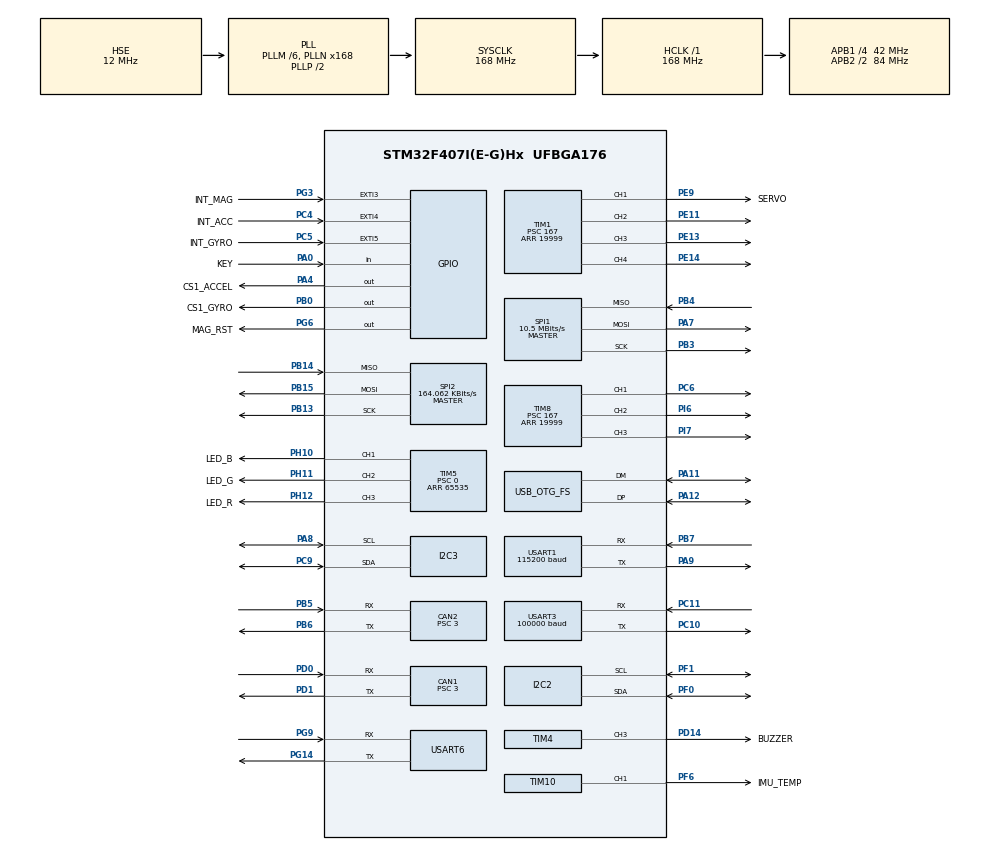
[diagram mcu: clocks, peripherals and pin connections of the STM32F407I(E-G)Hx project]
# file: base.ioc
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ADC1.Channel-0\#ChannelRegularConversion=ADC_CHANNEL_TEMPSENSOR
ADC1.ClockPrescaler=ADC_CLOCK_SYNC_PCLK_DIV6
ADC1.NbrOfConversionFlag=1
ADC1.Rank-0\#ChannelRegularConversion=1
ADC1.SamplingTime-0\#ChannelRegularConversion=ADC_SAMPLETIME_3CYCLES
ADC1.master=1
CAN1.BS1=CAN_BS1_10TQ
CAN1.BS2=CAN_BS2_3TQ
CAN1.CalculateBaudRate=1000000
CAN1.CalculateTimeQuantum=71.42857142857143
CAN1.NART=ENABLE
CAN1.Prescaler=3
CAN1.TXFP=ENABLE
CAN2.BS1=CAN_BS1_10TQ
CAN2.BS2=CAN_BS2_3TQ
CAN2.CalculateBaudRate=1000000
CAN2.CalculateTimeQuantum=71.42857142857143
CAN2.NART=ENABLE
CAN2.Prescaler=3
CAN2.TXFP=ENABLE
Dma.I2C2_RX.6.Direction=DMA_PERIPH_TO_MEMORY
Dma.I2C2_RX.6.FIFOMode=DMA_FIFOMODE_DISABLE
Dma.I2C2_RX.6.Instance=DMA1_Stream2
Dma.I2C2_RX.6.MemDataAlignment=DMA_MDATAALIGN_BYTE
Dma.I2C2_RX.6.MemInc=DMA_MINC_ENABLE
Dma.I2C2_RX.6.Mode=DMA_NORMAL
Dma.I2C2_RX.6.PeriphDataAlignment=DMA_PDATAALIGN_BYTE
Dma.I2C2_RX.6.PeriphInc=DMA_PINC_DISABLE
Dma.I2C2_RX.6.Priority=DMA_PRIORITY_LOW
Dma.I2C2_TX.7.Direction=DMA_MEMORY_TO_PERIPH
Dma.I2C2_TX.7.FIFOMode=DMA_FIFOMODE_DISABLE
Dma.I2C2_TX.7.Instance=DMA1_Stream7
Dma.I2C2_TX.7.MemDataAlignment=DMA_MDATAALIGN_BYTE
Dma.I2C2_TX.7.MemInc=DMA_MINC_ENABLE
Dma.I2C2_TX.7.Mode=DMA_NORMAL
Dma.I2C2_TX.7.PeriphDataAlignment=DMA_PDATAALIGN_BYTE
Dma.I2C2_TX.7.PeriphInc=DMA_PINC_DISABLE
Dma.I2C2_TX.7.Priority=DMA_PRIORITY_LOW
Dma.Request0=USART6_RX
Dma.Request1=USART6_TX
Dma.Request2=USART1_TX
Dma.Request3=USART1_RX
Dma.Request4=SPI1_RX
Dma.Request5=USART3_RX
Dma.Request6=I2C2_RX
Dma.Request7=I2C2_TX
Dma.Request8=SPI1_TX
Dma.SPI1_RX.4.Direction=DMA_PERIPH_TO_MEMORY
Dma.SPI1_RX.4.FIFOMode=DMA_FIFOMODE_ENABLE
Dma.SPI1_RX.4.FIFOThreshold=DMA_FIFO_THRESHOLD_FULL
Dma.SPI1_RX.4.Instance=DMA2_Stream0
Dma.SPI1_RX.4.MemBurst=DMA_MBURST_SINGLE
Dma.SPI1_RX.4.MemDataAlignment=DMA_MDATAALIGN_BYTE
Dma.SPI1_RX.4.MemInc=DMA_MINC_ENABLE
Dma.SPI1_RX.4.Mode=DMA_NORMAL
Dma.SPI1_RX.4.PeriphBurst=DMA_PBURST_SINGLE
Dma.SPI1_RX.4.PeriphDataAlignment=DMA_PDATAALIGN_BYTE
Dma.SPI1_RX.4.PeriphInc=DMA_PINC_DISABLE
Dma.SPI1_RX.4.Priority=DMA_PRIORITY_HIGH
Dma.SPI1_TX.8.Direction=DMA_MEMORY_TO_PERIPH
Dma.SPI1_TX.8.FIFOMode=DMA_FIFOMODE_DISABLE
Dma.SPI1_TX.8.Instance=DMA2_Stream3
Dma.SPI1_TX.8.MemDataAlignment=DMA_MDATAALIGN_BYTE
Dma.SPI1_TX.8.MemInc=DMA_MINC_ENABLE
Dma.SPI1_TX.8.Mode=DMA_NORMAL
Dma.SPI1_TX.8.PeriphDataAlignment=DMA_PDATAALIGN_BYTE
Dma.SPI1_TX.8.PeriphInc=DMA_PINC_DISABLE
Dma.SPI1_TX.8.Priority=DMA_PRIORITY_HIGH
Dma.USART1_RX.3.Direction=DMA_PERIPH_TO_MEMORY
Dma.USART1_RX.3.FIFOMode=DMA_FIFOMODE_DISABLE
Dma.USART1_RX.3.Instance=DMA2_Stream5
Dma.USART1_RX.3.MemDataAlignment=DMA_MDATAALIGN_BYTE
Dma.USART1_RX.3.MemInc=DMA_MINC_ENABLE
Dma.USART1_RX.3.Mode=DMA_NORMAL
Dma.USART1_RX.3.PeriphDataAlignment=DMA_PDATAALIGN_BYTE
Dma.USART1_RX.3.PeriphInc=DMA_PINC_DISABLE
Dma.USART1_RX.3.Priority=DMA_PRIORITY_VERY_HIGH
Dma.USART1_TX.2.Direction=DMA_MEMORY_TO_PERIPH
Dma.USART1_TX.2.FIFOMode=DMA_FIFOMODE_DISABLE
Dma.USART1_TX.2.Instance=DMA2_Stream7
Dma.USART1_TX.2.MemDataAlignment=DMA_MDATAALIGN_BYTE
Dma.USART1_TX.2.MemInc=DMA_MINC_ENABLE
Dma.USART1_TX.2.Mode=DMA_NORMAL
Dma.USART1_TX.2.PeriphDataAlignment=DMA_PDATAALIGN_BYTE
Dma.USART1_TX.2.PeriphInc=DMA_PINC_DISABLE
Dma.USART1_TX.2.Priority=DMA_PRIORITY_VERY_HIGH
Dma.USART3_RX.5.Direction=DMA_PERIPH_TO_MEMORY
Dma.USART3_RX.5.FIFOMode=DMA_FIFOMODE_DISABLE
Dma.USART3_RX.5.Instance=DMA1_Stream1
Dma.USART3_RX.5.MemDataAlignment=DMA_MDATAALIGN_BYTE
Dma.USART3_RX.5.MemInc=DMA_MINC_ENABLE
Dma.USART3_RX.5.Mode=DMA_NORMAL
Dma.USART3_RX.5.PeriphDataAlignment=DMA_PDATAALIGN_BYTE
Dma.USART3_RX.5.PeriphInc=DMA_PINC_DISABLE
Dma.USART3_RX.5.Priority=DMA_PRIORITY_LOW
Dma.USART6_RX.0.Direction=DMA_PERIPH_TO_MEMORY
Dma.USART6_RX.0.FIFOMode=DMA_FIFOMODE_ENABLE
Dma.USART6_RX.0.FIFOThreshold=DMA_FIFO_THRESHOLD_FULL
Dma.USART6_RX.0.Instance=DMA2_Stream2
Dma.USART6_RX.0.MemBurst=DMA_MBURST_SINGLE
Dma.USART6_RX.0.MemDataAlignment=DMA_MDATAALIGN_BYTE
Dma.USART6_RX.0.MemInc=DMA_MINC_ENABLE
Dma.USART6_RX.0.Mode=DMA_NORMAL
Dma.USART6_RX.0.PeriphBurst=DMA_PBURST_SINGLE
Dma.USART6_RX.0.PeriphDataAlignment=DMA_PDATAALIGN_BYTE
Dma.USART6_RX.0.PeriphInc=DMA_PINC_DISABLE
Dma.USART6_RX.0.Priority=DMA_PRIORITY_HIGH
Dma.USART6_TX.1.Direction=DMA_MEMORY_TO_PERIPH
Dma.USART6_TX.1.FIFOMode=DMA_FIFOMODE_ENABLE
Dma.USART6_TX.1.FIFOThreshold=DMA_FIFO_THRESHOLD_FULL
Dma.USART6_TX.1.Instance=DMA2_Stream6
Dma.USART6_TX.1.MemBurst=DMA_MBURST_SINGLE
Dma.USART6_TX.1.MemDataAlignment=DMA_MDATAALIGN_BYTE
Dma.USART6_TX.1.MemInc=DMA_MINC_ENABLE
Dma.USART6_TX.1.Mode=DMA_NORMAL
Dma.USART6_TX.1.PeriphBurst=DMA_PBURST_SINGLE
Dma.USART6_TX.1.PeriphDataAlignment=DMA_PDATAALIGN_BYTE
Dma.USART6_TX.1.PeriphInc=DMA_PINC_DISABLE
Dma.USART6_TX.1.Priority=DMA_PRIORITY_HIGH
FREERTOS.INCLUDE_pcTaskGetTaskName=1
FREERTOS.INCLUDE_vTaskDelayUntil=1
FREERTOS.INCLUDE_xEventGroupSetBitFromISR=1
FREERTOS.INCLUDE_xTimerPendFunctionCall=1
FREERTOS.MEMORY_ALLOCATION=0
FREERTOS.Tasks01=defaultTask,0,128,StartDefaultTask,Default,NULL,Dynamic,NULL,NULL
FREERTOS.configENABLE_FPU=1
FREERTOS.configGENERATE_RUN_TIME_STATS=0
FREERTOS.configMAX_TASK_NAME_LEN=32
FREERTOS.configRECORD_STACK_HIGH_ADDRESS=1
FREERTOS.configTIMER_TASK_STACK_DEPTH=512
FREERTOS.configTOTAL_HEAP_SIZE=20000
FREERTOS.configUSE_COUNTING_SEMAPHORES=1
FREERTOS.configUSE_POSIX_ERRNO=0
FREERTOS.configUSE_STATS_FORMATTING_FUNCTIONS=1
FREERTOS.configUSE_TIMERS=1
FREERTOS.configUSE_TRACE_FACILITY=1
I2C2.I2C_Mode=I2C_Fast
I2C3.I2C_Mode=I2C_Fast
IWDG.Reload=500
Mcu.Family=STM32F4
Mcu.Name=STM32F407I(E-G)Hx
Mcu.Package=UFBGA176
NVIC.CAN1_RX0_IRQn=true\:5\:0\:true\:false\:true\:true\:true\:true\:true
NVIC.CAN1_RX1_IRQn=true\:5\:0\:false\:false\:true\:true\:true\:true\:true
NVIC.CAN2_RX0_IRQn=true\:5\:0\:true\:false\:true\:true\:true\:true\:true
NVIC.CAN2_RX1_IRQn=true\:5\:0\:false\:false\:true\:true\:true\:true\:true
NVIC.DMA1_Stream1_IRQn=true\:5\:0\:false\:false\:true\:true\:false\:true\:true
NVIC.DMA1_Stream2_IRQn=true\:5\:0\:false\:false\:true\:true\:false\:true\:true
NVIC.DMA1_Stream7_IRQn=true\:5\:0\:false\:false\:true\:true\:false\:true\:true
NVIC.DMA2_Stream0_IRQn=true\:5\:0\:false\:false\:true\:false\:false\:true\:true
NVIC.DMA2_Stream2_IRQn=true\:5\:0\:false\:false\:true\:true\:false\:true\:true
NVIC.DMA2_Stream3_IRQn=true\:5\:0\:false\:false\:true\:false\:false\:true\:true
NVIC.DMA2_Stream5_IRQn=true\:5\:0\:false\:false\:true\:false\:false\:true\:true
NVIC.DMA2_Stream6_IRQn=true\:5\:0\:true\:false\:true\:true\:false\:true\:true
NVIC.DMA2_Stream7_IRQn=true\:5\:0\:true\:false\:true\:true\:false\:true\:true
NVIC.FLASH_IRQn=true\:6\:0\:true\:false\:true\:true\:true\:true\:true
NVIC.I2C2_ER_IRQn=true\:5\:0\:false\:false\:true\:true\:true\:true\:true
NVIC.I2C2_EV_IRQn=true\:5\:0\:false\:false\:true\:true\:true\:true\:true
NVIC.I2C3_ER_IRQn=true\:5\:0\:false\:false\:true\:true\:true\:true\:true
NVIC.I2C3_EV_IRQn=true\:5\:0\:false\:false\:true\:true\:true\:true\:true
NVIC.OTG_FS_IRQn=true\:5\:0\:false\:false\:true\:true\:false\:true\:true
NVIC.PriorityGroup=NVIC_PRIORITYGROUP_4
NVIC.SPI1_IRQn=true\:5\:0\:false\:false\:true\:true\:true\:true\:true
NVIC.SPI2_IRQn=true\:5\:0\:false\:false\:true\:true\:true\:true\:true
NVIC.TIM6_DAC_IRQn=true\:5\:0\:true\:false\:true\:true\:true\:true\:true
NVIC.TIM8_TRG_COM_TIM14_IRQn=true\:15\:0\:false\:false\:true\:false\:false\:true\:true
NVIC.TimeBase=TIM8_TRG_COM_TIM14_IRQn
NVIC.TimeBaseIP=TIM14
NVIC.USART1_IRQn=true\:5\:0\:false\:false\:true\:true\:true\:true\:true
NVIC.USART3_IRQn=true\:5\:0\:false\:false\:true\:true\:true\:true\:true
NVIC.USART6_IRQn=true\:5\:0\:false\:false\:true\:true\:true\:true\:true
PA0-WKUP.GPIO_Label=KEY
PA0-WKUP.GPIO_PuPd=GPIO_PULLUP
PA0-WKUP.Signal=GPIO_Input
PA10.Signal=USB_OTG_FS_ID
PA11.Mode=Device_Only
PA11.Signal=USB_OTG_FS_DM
PA12.Mode=Device_Only
PA12.Signal=USB_OTG_FS_DP
PA13.Mode=Serial_Wire
PA13.Signal=SYS_JTMS-SWDIO
PA14.Mode=Serial_Wire
PA14.Signal=SYS_JTCK-SWCLK
PA4.GPIO_Label=CS1_ACCEL
PA4.GPIO_PuPd=GPIO_PULLUP
PA4.GPIO_Speed=GPIO_SPEED_FREQ_HIGH
PA4.PinState=GPIO_PIN_SET
PA4.Signal=GPIO_Output
PA7.GPIO_PuPd=GPIO_PULLUP
PA7.Mode=Full_Duplex_Master
PA7.Signal=SPI1_MOSI
PA8.Mode=I2C
PA8.Signal=I2C3_SCL
PA9.Mode=Asynchronous
PA9.Signal=USART1_TX
PB0.GPIO_Label=CS1_GYRO
PB0.GPIO_PuPd=GPIO_PULLUP
PB0.GPIO_Speed=GPIO_SPEED_FREQ_HIGH
PB0.PinState=GPIO_PIN_SET
PB0.Signal=GPIO_Output
PB13.Mode=Full_Duplex_Master
PB13.Signal=SPI2_SCK
PB14.Mode=Full_Duplex_Master
PB14.Signal=SPI2_MISO
PB15.Mode=Full_Duplex_Master
PB15.Signal=SPI2_MOSI
PB3.GPIO_PuPd=GPIO_PULLUP
PB3.Mode=Full_Duplex_Master
PB3.Signal=SPI1_SCK
PB4.GPIO_PuPd=GPIO_PULLUP
PB4.Mode=Full_Duplex_Master
PB4.Signal=SPI1_MISO
PB5.Mode=CAN_Activate
PB5.Signal=CAN2_RX
PB6.Mode=CAN_Activate
PB6.Signal=CAN2_TX
PB7.Mode=Asynchronous
PB7.Signal=USART1_RX
PC10.Mode=Asynchronous
PC10.Signal=USART3_TX
PC11.Mode=Asynchronous
PC11.Signal=USART3_RX
PC4.GPIO_Label=INT_ACC
PC4.GPIO_ModeDefaultEXTI=GPIO_MODE_IT_FALLING
PC4.Signal=GPXTI4
PC5.GPIO_Label=INT_GYRO
PC5.GPIO_ModeDefaultEXTI=GPIO_MODE_IT_FALLING
PC5.Signal=GPXTI5
PC6.Signal=S_TIM8_CH1
PC9.Mode=I2C
PC9.Signal=I2C3_SDA
PD0.Mode=CAN_Activate
PD0.Signal=CAN1_RX
PD1.Mode=CAN_Activate
PD1.Signal=CAN1_TX
PD14.GPIO_Label=BUZZER
PD14.GPIO_PuPd=GPIO_PULLUP
PD14.GPIO_Speed=GPIO_SPEED_FREQ_VERY_HIGH
PD14.Signal=S_TIM4_CH3
PE11.Signal=S_TIM1_CH2
PE13.Signal=S_TIM1_CH3
PE14.Signal=S_TIM1_CH4
PE9.GPIO_Label=SERVO
PE9.Signal=S_TIM1_CH1
PF0.Mode=I2C
PF0.Signal=I2C2_SDA
PF1.Mode=I2C
PF1.Signal=I2C2_SCL
PF6.GPIO_Label=IMU_TEMP
PF6.GPIO_PuPd=GPIO_PULLUP
PF6.GPIO_Speed=GPIO_SPEED_FREQ_HIGH
PF6.Signal=S_TIM10_CH1
PG14.Mode=Asynchronous
PG14.Signal=USART6_TX
PG3.GPIO_Label=INT_MAG
PG3.GPIO_ModeDefaultEXTI=GPIO_MODE_IT_FALLING
PG3.GPIO_PuPd=GPIO_PULLUP
PG3.Signal=GPXTI3
PG6.GPIO_Label=MAG_RST
PG6.Signal=GPIO_Output
PG9.Mode=Asynchronous
PG9.Signal=USART6_RX
PH0-OSC_IN.Mode=HSE-External-Oscillator
PH0-OSC_IN.Signal=RCC_OSC_IN
PH1-OSC_OUT.Mode=HSE-External-Oscillator
PH1-OSC_OUT.Signal=RCC_OSC_OUT
PH10.GPIO_Label=LED_B
PH10.GPIO_PuPd=GPIO_PULLUP
PH10.GPIO_Speed=GPIO_SPEED_FREQ_HIGH
PH10.Signal=S_TIM5_CH1
PH11.GPIO_Label=LED_G
PH11.GPIO_PuPd=GPIO_PULLUP
PH11.GPIO_Speed=GPIO_SPEED_FREQ_HIGH
PH11.Signal=S_TIM5_CH2
PH12.GPIO_Label=LED_R
PH12.GPIO_PuPd=GPIO_PULLUP
PH12.GPIO_Speed=GPIO_SPEED_FREQ_HIGH
PH12.Signal=S_TIM5_CH3
PI6.Signal=S_TIM8_CH2
PI7.Signal=S_TIM8_CH3
ProjectManager.HeapSize=0x400
ProjectManager.StackSize=0x800
ProjectManager.TargetToolchain=CMake
RCC.48MHZClocksFreq_Value=48000000
RCC.AHBFreq_Value=168000000
RCC.APB1CLKDivider=RCC_HCLK_DIV4
RCC.APB1Freq_Value=42000000
RCC.APB1TimFreq_Value=84000000
RCC.APB2CLKDivider=RCC_HCLK_DIV2
RCC.APB2Freq_Value=84000000
RCC.APB2TimFreq_Value=168000000
RCC.CortexFreq_Value=168000000
RCC.HCLKFreq_Value=168000000
RCC.HSE_VALUE=12000000
RCC.HSI_VALUE=16000000
RCC.LSE_VALUE=32768
RCC.PLLM=6
RCC.PLLN=168
RCC.PLLQ=7
RCC.RCC_RTC_Clock_SourceVirtual=RCC_RTCCLKSOURCE_HSE_DIV30
RCC.RCC_RTC_Clock_Source_FROM_HSE=RCC_RTCCLKSOURCE_HSE_DIV30
RCC.SYSCLKFreq_VALUE=168000000
RCC.SYSCLKSource=RCC_SYSCLKSOURCE_PLLCLK
RCC.VCOOutputFreq_Value=336000000
RTC.AsynchPrediv=124
RTC.SynchPrediv=3199
SH.S_TIM10_CH1.0=TIM10_CH1,PWM Generation1 CH1
SH.S_TIM1_CH1.0=TIM1_CH1,PWM Generation1 CH1
SH.S_TIM1_CH2.0=TIM1_CH2,PWM Generation2 CH2
SH.S_TIM1_CH3.0=TIM1_CH3,PWM Generation3 CH3
SH.S_TIM1_CH4.0=TIM1_CH4,PWM Generation4 CH4
SH.S_TIM4_CH3.0=TIM4_CH3,PWM Generation3 CH3
SH.S_TIM5_CH1.0=TIM5_CH1,PWM Generation1 CH1
SH.S_TIM5_CH2.0=TIM5_CH2,PWM Generation2 CH2
SH.S_TIM5_CH3.0=TIM5_CH3,PWM Generation3 CH3
SH.S_TIM8_CH1.0=TIM8_CH1,Output Compare1 CH1
SH.S_TIM8_CH2.0=TIM8_CH2,Output Compare2 CH2
SH.S_TIM8_CH3.0=TIM8_CH3,Output Compare3 CH3
SPI1.BaudRatePrescaler=SPI_BAUDRATEPRESCALER_8
SPI1.CLKPhase=SPI_PHASE_2EDGE
SPI1.CLKPolarity=SPI_POLARITY_HIGH
SPI1.CalculateBaudRate=10.5 MBits/s
SPI1.Direction=SPI_DIRECTION_2LINES
SPI1.Mode=SPI_MODE_MASTER
SPI1.VirtualType=VM_MASTER
SPI2.BaudRatePrescaler=SPI_BAUDRATEPRESCALER_256
SPI2.CLKPhase=SPI_PHASE_2EDGE
SPI2.CLKPolarity=SPI_POLARITY_HIGH
SPI2.CalculateBaudRate=164.062 KBits/s
SPI2.Direction=SPI_DIRECTION_2LINES
SPI2.Mode=SPI_MODE_MASTER
SPI2.VirtualType=VM_MASTER
STMicroelectronics.X-CUBE-ALGOBUILD.1.4.0.LibraryCcDSPOoLibraryJjDSPOoLibrary=true
TIM1.Channel-PWM\ Generation1\ CH1=TIM_CHANNEL_1
TIM1.Channel-PWM\ Generation2\ CH2=TIM_CHANNEL_2
TIM1.Channel-PWM\ Generation3\ CH3=TIM_CHANNEL_3
TIM1.Channel-PWM\ Generation4\ CH4=TIM_CHANNEL_4
TIM1.Period=19999
TIM1.Prescaler=167
TIM10.Channel=TIM_CHANNEL_1
TIM10.Period=5000-1
TIM10.Prescaler=167
TIM4.Channel-PWM\ Generation3\ CH3=TIM_CHANNEL_3
TIM4.Period=1000-1
TIM4.Prescaler=167
TIM5.Channel-PWM\ Generation1\ CH1=TIM_CHANNEL_1
TIM5.Channel-PWM\ Generation2\ CH2=TIM_CHANNEL_2
TIM5.Channel-PWM\ Generation3\ CH3=TIM_CHANNEL_3
TIM5.Period=65535
TIM5.Prescaler=0
TIM6.AutoReloadPreload=TIM_AUTORELOAD_PRELOAD_ENABLE
TIM6.Period=999
TIM6.Prescaler=8399
TIM8.Channel-Output\ Compare1\ CH1=TIM_CHANNEL_1
TIM8.Channel-Output\ Compare2\ CH2=TIM_CHANNEL_2
TIM8.Channel-Output\ Compare3\ CH3=TIM_CHANNEL_3
TIM8.Period=19999
TIM8.Prescaler=167
USART1.BaudRate=115200
USART1.VirtualMode=VM_ASYNC
USART3.BaudRate=100000
USART3.Parity=PARITY_EVEN
USART3.VirtualMode=VM_ASYNC
USART3.WordLength=WORDLENGTH_9B
USART6.VirtualMode=VM_ASYNC
USB_DEVICE.CLASS_NAME_FS=CDC
USB_DEVICE.VirtualMode-CDC_FS=Cdc
USB_DEVICE.VirtualModeFS=Cdc_FS
USB_OTG_FS.VirtualMode=Device_Only
VP_ADC1_TempSens_Input.Mode=IN-TempSens
VP_ADC1_Vref_Input.Mode=IN-Vrefint
VP_CRC_VS_CRC.Mode=CRC_Activate
VP_FREERTOS_VS_CMSIS_V1.Mode=CMSIS_V1
VP_IWDG_VS_IWDG.Mode=IWDG_Activate
VP_RNG_VS_RNG.Mode=RNG_Activate
VP_RTC_VS_RTC_Activate.Mode=RTC_Enabled
VP_STMicroelectronics.X-CUBE-ALGOBUILD_VS_DSPOoLibraryJjLibrary_1.4.0_1.4.0.Mode=DSPOoLibraryJjLibrary
VP_SYS_VS_tim14.Mode=TIM14
VP_TIM10_VS_ClockSourceINT.Mode=Enable_Timer
VP_TIM1_VS_ClockSourceINT.Mode=Internal
VP_TIM4_VS_ClockSourceINT.Mode=Internal
VP_TIM5_VS_ClockSourceINT.Mode=Internal
VP_TIM6_VS_ClockSourceINT.Mode=Enable_Timer
VP_TIM8_VS_ClockSourceINT.Mode=Internal
VP_USB_DEVICE_VS_USB_DEVICE_CDC_FS.Mode=CDC_FS
board=custom

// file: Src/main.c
/* USER CODE BEGIN Header */
/**
  ******************************************************************************
  * @file           : main.c
  * @brief          : Main program body
  ******************************************************************************
  * @attention
  *
  * Copyright (c) 2025 STMicroelectronics.
  * All rights reserved.
  *
  * This software is licensed under terms that can be found in the LICENSE file
  * in the root directory of this software component.
  * If no LICENSE file comes with this software, it is provided AS-IS.
  *
  ******************************************************************************
  */
/* USER CODE END Header */
#include "main.h"
#include "cmsis_os.h"
#include "adc.h"
#include "can.h"
#include "crc.h"
#include "dma.h"
#include "i2c.h"
#include "iwdg.h"
#include "rng.h"
#include "rtc.h"
#include "spi.h"
#include "tim.h"
#include "usart.h"
#include "usb_device.h"
#include "gpio.h"

/* USER CODE BEGIN Includes */
#include "stm32f407xx.h"
#include "systemwatch.h"
#include "robot_init.h"
/* USER CODE END Includes */

void SystemClock_Config(void);
void MX_FREERTOS_Init(void);

int main(void)
{

  /* MCU Configuration--------------------------------------------------------*/

  /* Reset of all peripherals, Initializes the Flash interface and the Systick. */
  HAL_Init();

  /* Configure the system clock */
  SystemClock_Config();

  /* Initialize all configured peripherals */
  MX_GPIO_Init();
  MX_DMA_Init();
  MX_ADC1_Init();
  MX_CAN1_Init();
  MX_CAN2_Init();
  MX_SPI1_Init();
  MX_TIM4_Init();
  MX_TIM5_Init();
  MX_USART3_UART_Init();
  MX_RNG_Init();
  MX_RTC_Init();
  MX_TIM1_Init();
  MX_TIM10_Init();
  MX_USART1_UART_Init();
  MX_USART6_UART_Init();
  MX_TIM8_Init();
  MX_I2C2_Init();
  MX_I2C3_Init();
  MX_SPI2_Init();
  MX_CRC_Init();
  MX_TIM6_Init();
  //MX_IWDG_Init();
  /* USER CODE BEGIN 2 */
  base_init();
  /* USER CODE END 2 */

  /* Call init function for freertos objects (in cmsis_os2.c) */
  MX_FREERTOS_Init();

  /* Start scheduler */
  osKernelStart();

  /* We should never get here as control is now taken by the scheduler */

  /* Infinite loop */
  while (1)
  {

  }
}

void SystemClock_Config(void)
{
  RCC_OscInitTypeDef RCC_OscInitStruct = {0};
  RCC_ClkInitTypeDef RCC_ClkInitStruct = {0};

  /** Configure the main internal regulator output voltage
  */
  __HAL_RCC_PWR_CLK_ENABLE();
  __HAL_PWR_VOLTAGESCALING_CONFIG(PWR_REGULATOR_VOLTAGE_SCALE1);

  /** Initializes the RCC Oscillators according to the specified parameters
  * in the RCC_OscInitTypeDef structure.
  */
  RCC_OscInitStruct.OscillatorType = RCC_OSCILLATORTYPE_LSI|RCC_OSCILLATORTYPE_HSE;
  RCC_OscInitStruct.HSEState = RCC_HSE_ON;
  RCC_OscInitStruct.LSIState = RCC_LSI_ON;
  RCC_OscInitStruct.PLL.PLLState = RCC_PLL_ON;
  RCC_OscInitStruct.PLL.PLLSource = RCC_PLLSOURCE_HSE;
  RCC_OscInitStruct.PLL.PLLM = 6;
  RCC_OscInitStruct.PLL.PLLN = 168;
  RCC_OscInitStruct.PLL.PLLP = RCC_PLLP_DIV2;
  RCC_OscInitStruct.PLL.PLLQ = 7;
  if (HAL_RCC_OscConfig(&RCC_OscInitStruct) != HAL_OK)
  {
    Error_Handler();
  }

  /** Initializes the CPU, AHB and APB buses clocks
  */
  RCC_ClkInitStruct.ClockType = RCC_CLOCKTYPE_HCLK|RCC_CLOCKTYPE_SYSCLK
                              |RCC_CLOCKTYPE_PCLK1|RCC_CLOCKTYPE_PCLK2;
  RCC_ClkInitStruct.SYSCLKSource = RCC_SYSCLKSOURCE_PLLCLK;
  RCC_ClkInitStruct.AHBCLKDivider = RCC_SYSCLK_DIV1;
  RCC_ClkInitStruct.APB1CLKDivider = RCC_HCLK_DIV4;
  RCC_ClkInitStruct.APB2CLKDivider = RCC_HCLK_DIV2;

  if (HAL_RCC_ClockConfig(&RCC_ClkInitStruct, FLASH_LATENCY_5) != HAL_OK)
  {
    Error_Handler();
  }
}

void HAL_TIM_PeriodElapsedCallback(TIM_HandleTypeDef *htim)
{
  if (htim->Instance == TIM14)
  {
    HAL_IncTick();
  }
  /* USER CODE BEGIN Callback 1 */
  if (htim->Instance == TIM6)
  {
    sysytemwatch_it_callback();
  }
  /* USER CODE END Callback 1 */
}

void Error_Handler(void)
{
  __disable_irq();
  while (1)
  {
  }
}

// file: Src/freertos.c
/* USER CODE BEGIN Header */
/**
  ******************************************************************************
  * File Name          : freertos.c
  * Description        : Code for freertos applications
  ******************************************************************************
  * @attention
  *
  * Copyright (c) 2025 STMicroelectronics.
  * All rights reserved.
  *
  * This software is licensed under terms that can be found in the LICENSE file
  * in the root directory of this software component.
  * If no LICENSE file comes with this software, it is provided AS-IS.
  *
  ******************************************************************************
  */
/* USER CODE END Header */

#include "FreeRTOS.h"
#include "task.h"
#include "main.h"
#include "cmsis_os.h"

/* USER CODE BEGIN Includes */
#include "systemwatch.h"
#include "robot_init.h"
#include "RGB.h"
#include "offline.h"
/* USER CODE END Includes */

/* USER CODE BEGIN Variables */
osThreadId initTaskHandle;
/* USER CODE END Variables */
osThreadId defaultTaskHandle;

/* USER CODE BEGIN FunctionPrototypes */
void initTask(void const * argument);
/* USER CODE END FunctionPrototypes */

void StartDefaultTask(void const * argument);

extern void MX_USB_DEVICE_Init(void);
void MX_FREERTOS_Init(void); /* (MISRA C 2004 rule 8.1) */

void MX_FREERTOS_Init(void) {

  /* Create the thread(s) */
  /* definition and creation of defaultTask */
  osThreadDef(defaultTask, StartDefaultTask, osPriorityBelowNormal, 0, 128);
  defaultTaskHandle = osThreadCreate(osThread(defaultTask), NULL);

  /* USER CODE BEGIN RTOS_THREADS */
  osThreadDef(initTask, initTask, osPriorityRealtime, 0, 512);
  initTaskHandle = osThreadCreate(osThread(initTask), NULL);
  /* USER CODE END RTOS_THREADS */

}

void StartDefaultTask(void const * argument)
{
  /* init code for USB_DEVICE */
  MX_USB_DEVICE_Init();
  /* USER CODE BEGIN StartDefaultTask */
  SystemWatch_RegisterTask(defaultTaskHandle, "Default Task");
  /* Infinite loop */
  for(;;)
  {
    SystemWatch_ReportTaskAlive(osThreadGetId());
    if (get_system_status()==0) {
    RGB_show(LED_Green);
    }
    osDelay(20);
  }
  /* USER CODE END StartDefaultTask */
}

/* USER CODE BEGIN Application */
void initTask(void const * argument){
    // 关闭中断（进入临界区）
    taskENTER_CRITICAL();

    // 挂起调度器（禁止上下文切换）
    vTaskSuspendAll();

    /*----- 初始化代码开始 -----*/
    robot_init();
    /*----- 初始化代码结束 -----*/

    // 恢复调度器（必须先于退出临界区）
    xTaskResumeAll();

    // 恢复中断（退出临界区）
    taskEXIT_CRITICAL();

    // 删除本任务（传入NULL表示删除自己）
    vTaskDelete(NULL);
}
/* USER CODE END Application */
